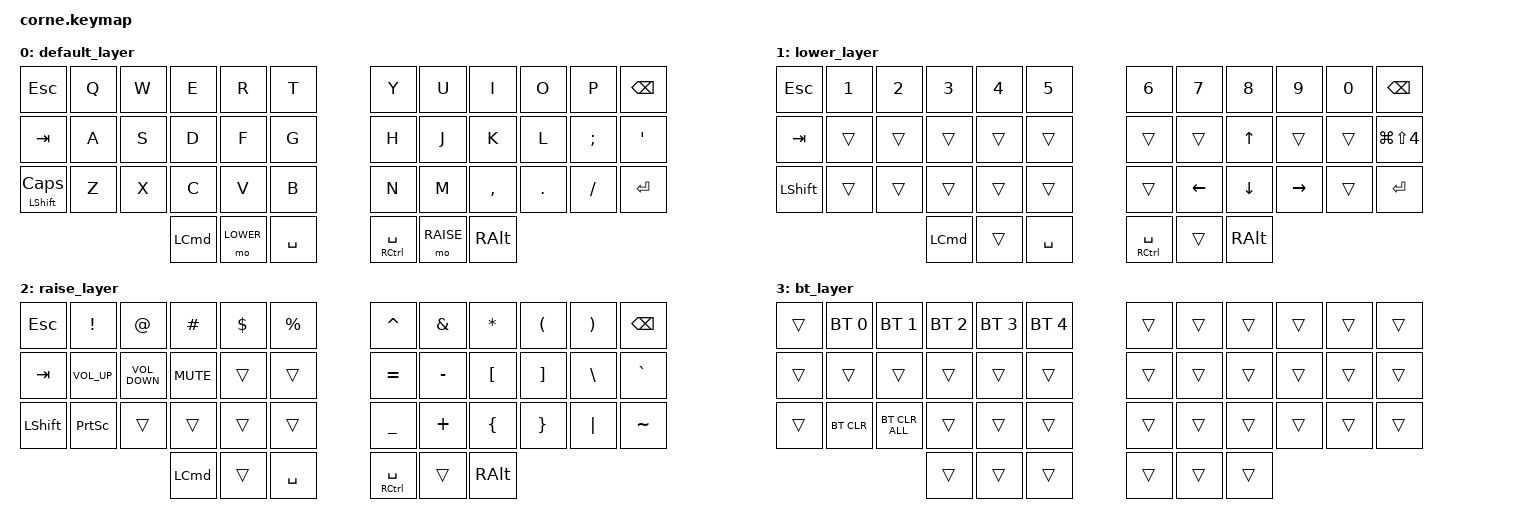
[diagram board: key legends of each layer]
/*
 * Copyright (c) 2020 The ZMK Contributors
 *
 * SPDX-License-Identifier: MIT
 */

#include <behaviors.dtsi>
#include <dt-bindings/zmk/keys.h>
#include <dt-bindings/zmk/bt.h>

#define DEFAULT 0
#define LOWER   1
#define RAISE   2
#define BT      3

&mt {
    tapping-term-ms = <200>;
};

/ {
    combos {
        combo_bt {
            timeout-ms = <100>;
            key-positions = <37 40>; // LOWER + RAISE correctos
            bindings = <&mo BT>;
        };
    };

    keymap {
        compatible = "zmk,keymap";

        default_layer {
// -----------------------------------------------------------------------------------------
            bindings = <
   &kp ESC   &kp Q &kp W &kp E &kp R &kp T          &kp Y &kp U  &kp I  &kp O   &kp P    &kp BSPC
   &kp TAB &kp A &kp S &kp D &kp F &kp G            &kp H &kp J  &kp K  &kp L   &kp SEMI &kp SQT
   &mt LSHIFT CAPSLOCK  &kp Z &kp X &kp C &kp V &kp B   &kp N &kp M  &kp COMMA &kp DOT &kp FSLH &kp RET
                  &kp LCMD &mo LOWER &kp SPACE   &mt RCTRL SPACE &mo RAISE &kp RALT
            >;
        };

        lower_layer {
// -----------------------------------------------------------------------------------------
            bindings = <
   &kp ESC    &kp N1 &kp N2 &kp N3 &kp N4 &kp N5     &kp N6 &kp N7 &kp N8 &kp N9 &kp N0 &kp BSPC
   &kp TAB    &trans &trans &trans &trans &trans     &trans &trans &kp UP &trans &trans &kp LG(LS(N4))
   &kp LSHFT  &trans &trans &trans &trans &trans     &trans &kp LEFT &kp DOWN &kp RIGHT &trans &kp RET
                        &kp LCMD &trans &kp SPACE   &mt RCTRL SPACE &trans &kp RALT
            >;
        };

        raise_layer {
// -----------------------------------------------------------------------------------------
            bindings = <
   &kp ESC  &kp EXCL &kp AT &kp HASH &kp DLLR &kp PRCNT   &kp CARET &kp AMPS  &kp ASTRK &kp LPAR &kp RPAR &kp BSPC
   &kp TAB  &kp K_VOLUME_UP &kp K_VOLUME_DOWN &kp K_MUTE &trans &trans  &kp EQUAL &kp MINUS &kp LBKT &kp RBKT &kp BSLH &kp GRAVE
   &kp LSHFT &kp PSCRN &trans &trans &trans &trans       &kp UNDER &kp PLUS &kp LBRC &kp RBRC &kp PIPE &kp TILDE
                        &kp LCMD &trans &kp SPACE   &mt RCTRL SPACE &trans &kp RALT
            >;
        };

        bt_layer {
// -----------------------------------------------------------------------------------------
            bindings = <
   &trans &bt BT_SEL 0 &bt BT_SEL 1 &bt BT_SEL 2 &bt BT_SEL 3 &bt BT_SEL 4   &trans &trans &trans &trans &trans &trans
   &trans &trans       &trans       &trans       &trans       &trans         &trans &trans &trans &trans &trans &trans
   &trans &bt BT_CLR   &bt BT_CLR_ALL &trans     &trans       &trans         &trans &trans &trans &trans &trans &trans
                        &trans &trans &trans     &trans       &trans &trans
            >;
        };
    };
};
